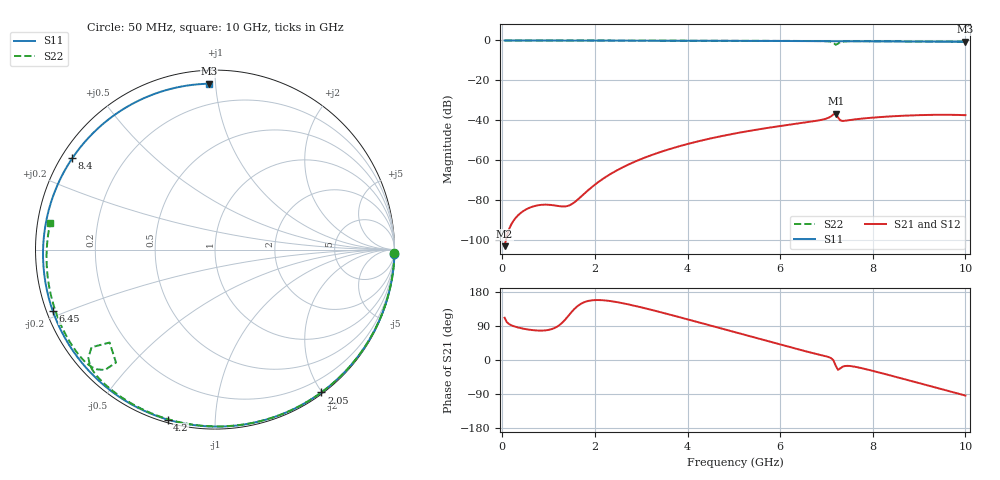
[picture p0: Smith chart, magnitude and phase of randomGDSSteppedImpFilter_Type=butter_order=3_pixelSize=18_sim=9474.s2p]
! freq	dB(S11)	phase(S11)	dB(S12)	phase(S12)
!  dB(S21)	phase(S21)	dB(S22)	phase(S22)
!S-par simulation data
#  GHz  S  DB  R 50
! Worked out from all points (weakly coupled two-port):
!   200 points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, 50 MHz to 10 GHz, reference 50 ohm
!   highest |S21| = -36.55 dB at 7.2 GHz (marker M1); lowest = -102.9 dB at 50 MHz (marker M2)
!   lowest |S11| = -0.7 dB at 10 GHz (marker M3), VSWR 25.58, Z = 3.76 + j48 ohm
!   |S11| at or under -10 dB: nowhere
!   |S22| runs from -2.1 to 0.0 dB; largest |S21 - S12| = 0
!   S11 on the Smith chart (normalised r, x): 50 MHz: 0, -86; 2.05 GHz: 0.02, -1.99; 4.2 GHz: 0.01, -0.76; 6.45 GHz: 0.02, -0.18; 8.4 GHz: 0.03, +0.29; 10 GHz: 0.08, +0.96
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0.05  -0.00 -1.3  -102.89 111.5  -102.89 111.5  -0.00 -1.1
0.8  -0.02 -21.2  -82.34 77.6  -82.34 77.6  -0.02 -16.7
1.6  -0.05 -41.9  -80.17 139.6  -80.17 139.6  -0.04 -33.1
1.75  -0.06 -45.7  -77.06 151.6  -77.06 151.6  -0.05 -36.1
2.05  -0.07 -53.3  -71.25 158.3  -71.25 158.3  -0.05 -42.1
2.65  -0.09 -68.3  -62.89 148.6  -62.89 148.6  -0.07 -54.0
3.4  -0.11 -86.5  -55.91 126.7  -55.91 126.7  -0.09 -68.5
4.2  -0.15 -105.6  -50.62 100.7  -50.62 100.7  -0.12 -83.4
5.05  -0.19 -125.6  -46.41 72.4  -46.41 72.4  -0.15 -98.9
5.8  -0.24 -143.4  -43.49 47.4  -43.49 47.4  -0.19 -112.3
6.45  -0.30 -159.2  -41.33 26.2  -41.33 26.2  -0.24 -124.0
6.7  -0.32 -165.5  -40.50 18.4  -40.50 18.4  -0.27 -128.8
7.1  -0.36 -175.8  -37.95 5.0  -37.95 5.0  -0.65 -139.5
7.15  -0.36 -177.1  -37.00 -0.7  -37.00 -0.7  -1.14 -141.7
7.2  -0.37 -178.4  -36.55 -15.2  -36.55 -15.2  -2.13 -138.6
7.25  -0.37 -179.8  -38.56 -26.1  -38.56 -26.1  -1.55 -131.2
7.35  -0.38 177.5  -40.25 -17.7  -40.25 -17.7  -0.57 -134.6
7.65  -0.42 169.3  -39.37 -18.6  -39.37 -18.6  -0.36 -142.6
8.35  -0.49 148.9  -38.03 -39.8  -38.03 -39.8  -0.41 -156.2
8.4  -0.50 147.4  -37.96 -41.4  -37.96 -41.4  -0.41 -157.1
9.3  -0.60 117.8  -37.20 -70.7  -37.20 -70.7  -0.52 -174.6
10  -0.68 92.1  -37.38 -93.8  -37.38 -93.8  -0.63 170.8
